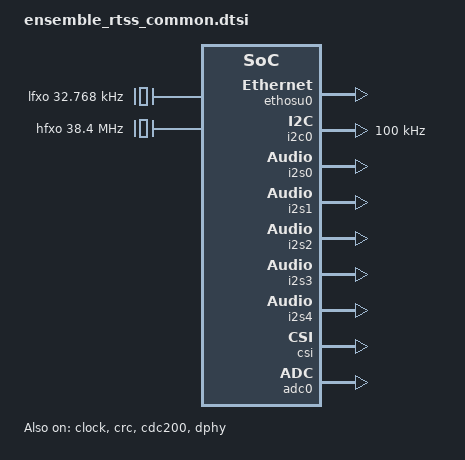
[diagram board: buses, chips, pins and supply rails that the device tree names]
/* Copyright (c) 2024 Alif Semiconductor
 *
 * SPDX-License-Identifier: Apache-2.0
 */
#include <arm/armv8.1-m.dtsi>
#include <mem.h>
#include <zephyr/dt-bindings/i2c/i2c.h>
#include <zephyr/dt-bindings/mipi_dsi/mipi_dsi.h>
#include <zephyr/dt-bindings/gpio/gpio.h>
#include <zephyr/dt-bindings/timer/alif_utimer.h>
#include <zephyr/dt-bindings/pwm/pwm.h>
#include <zephyr/dt-bindings/clock/alif_ensemble_clocks.h>
&{/soc} {
	clock: clock-controller@4903f000 {
		compatible = "alif,clk";
		reg = <0x4903F000 0xB0
				0x4902F000 0xBC
				0x1A604000 0x44
				0x1A609000 0x14
				0x43007000 0x2C
				0x400F0000 0x14
				0x1A602000 0x24>;
		reg-names = "master_clkctrl",
				"slave_clkctrl",
				"aon_clkctrl",
				"vbat_clkctrl",
				"m55he_clkctrl",
				"m55hp_clkctrl",
				"cgu_clkctrl";
		#clock-cells = <1>;
		status = "okay";
	};
	ethosu {
	#address-cells = <1>;
	#size-cells = <0>;
	interrupt-parent = <&nvic>;
		ethosu0: ethosu55@400E1000 {
			compatible = "arm,ethos-u";
			reg = <0x400E1000>;
			interrupts = <55 0>;
			secure-enable;
			privilege-enable;
			status = "okay";
		};
	};
	ns: ns@200d0000 {
		compatible = "zephyr,memory-region";
		/* Ensemble TGU Block Size(16KB) Aligned always */
		reg = <0x200d0000 DT_SIZE_K(176)>;
		zephyr,memory-region = "NON_SECURE0";
		status = "disabled";
	};
	peripheral@40000000 {
		#address-cells = < 0x1 >;
		#size-cells = < 0x1 >;
		ranges = < 0x0 0x40000000 0x2000000 >;

		seservice0r: mhu@40040000 {
			compatible = "arm,mhuv2";
			reg = < 0x40040000 0x1000 >;
			interrupts = < 37 0 >;
			interrupt-names = "rx";
		};
		seservice0s: mhu@40050000 {
			compatible = "arm,mhuv2";
			reg = < 0x40050000 0x1000 >;
			interrupts = < 38 0 >;
			interrupt-names = "tx";
		};
		seservice1r: mhu@40060000 {
			compatible = "arm,mhuv2";
			reg = < 0x40060000 0x1000 >;
			interrupts = < 39 0 >;
			interrupt-names = "rx";
		};
		seservice1s: mhu@40070000 {
			compatible = "arm,mhuv2";
			reg = < 0x40070000 0x1000 >;
			interrupts = < 40 0 >;
			interrupt-names = "tx";
		};
		rtsshp_rtsshe_mhu0_r: mhu@40080000 {
			compatible = "arm,mhuv2";
			reg = < 0x40080000 0x1000 >;
			interrupts = < 41 0 >;
			interrupt-names = "rx";
		};
		rtsshe_rtsshp_mhu0_s: mhu@40090000 {
			compatible = "arm,mhuv2";
			reg = < 0x40090000 0x1000 >;
			interrupts = < 42 0 >;
			interrupt-names = "tx";
		};
		rtsshp_rtsshe_mhu1_r: mhu@400a0000 {
			compatible = "arm,mhuv2";
			reg = < 0x400A0000 0x1000 >;
			interrupts = < 43 0 >;
			interrupt-names = "rx";
		};
		rtsshe_rtsshp_mhu1_s: mhu@400b0000 {
			compatible = "arm,mhuv2";
			reg = < 0x400B0000 0x1000 >;
			interrupts = < 44 0 >;
			interrupt-names = "tx";
		};
	};

	timer0: timer@42001000 {
		compatible = "snps,dw-timers";
		reg = <0x42001000 0x14>;
		interrupts = < 60 0 >;
		clocks = <&clock ALIF_LPTIMER0_S32K_CLK>;
		status = "disabled";
	};

	timer1: timer@42001014 {
		compatible = "snps,dw-timers";
		reg = <0x42001014 0x14>;
		interrupts = < 61 0 >;
		clocks = <&clock ALIF_LPTIMER1_S32K_CLK>;
		status = "disabled";
	};

	timer2: timer@42001028 {
		compatible = "snps,dw-timers";
		reg = <0x42001028 0x14>;
		interrupts = < 62 0 >;
		clocks = <&clock ALIF_LPTIMER2_S32K_CLK>;
		status = "disabled";
	};

	timer3: timer@4200103c {
		compatible = "snps,dw-timers";
		reg = <0x4200103C 0x14>;
		interrupts = < 63 0 >;
		clocks = <&clock ALIF_LPTIMER3_S32K_CLK>;
		status = "disabled";
	};

	utimer0: utimer@48001000 {
		compatible = "alif,utimer";
		reg = <0x48001000 0x1000 0x48000000 0x24>;
		reg-names = "timer", "global";
		interrupts = <377 3>, <378 3>,
				<379 3>, <380 3>, <381 3>,
				<382 3>, <383 3>, <384 3>;
		interrupt-names = "comp_capt_a", "comp_capt_b",
				"comp_a_buf1", "comp_a_buf2", "comp_b_buf1",
				"comp_b_buf2", "underflow", "overflow";
		timer-id = <0>;
		clocks = <&clock ALIF_UTIMER_CLK>;
		counter-direction = < ALIF_UTIMER_COUNTER_DIRECTION_UP >;
		status = "disabled";

		counter {
			compatible = "alif,counter";
			status = "disabled";
		};

		pwm {
			compatible = "alif,pwm";
			#pwm-cells = <3>;
			status = "disabled";
		};

		qdec {
			compatible = "alif,qdec";
			counts-per-revolution = <1000>;
			input-filter-enable;
			filter-prescaler = <16>;
			filter-taps = <1>;
			status = "disabled";
		};
	};

	utimer1: utimer@48002000 {
		compatible = "alif,utimer";
		reg = <0x48002000 0x1000 0x48000000 0x24>;
		reg-names = "timer", "global";
		interrupts = <385 3>, <386 3>,
				<387 3>, <388 3>, <389 3>,
				<390 3>, <391 3>, <392 3>;
		interrupt-names = "comp_capt_a", "comp_capt_b",
				"comp_a_buf1", "comp_a_buf2", "comp_b_buf1",
				"comp_b_buf2", "underflow", "overflow";
		timer-id = <1>;
		clocks = <&clock ALIF_UTIMER_CLK>;
		counter-direction = < ALIF_UTIMER_COUNTER_DIRECTION_UP >;
		status = "disabled";

		counter {
			compatible = "alif,counter";
			status = "disabled";
		};

		pwm {
			compatible = "alif,pwm";
			#pwm-cells = <3>;
			status = "disabled";
		};

		qdec {
			compatible = "alif,qdec";
			counts-per-revolution = <1000>;
			input-filter-enable;
			filter-prescaler = <16>;
			filter-taps = <1>;
			status = "disabled";
		};
	};

	utimer2: utimer@48003000 {
		compatible = "alif,utimer";
		reg = <0x48003000 0x1000 0x48000000 0x24>;
		reg-names = "timer", "global";
		interrupts = <393 3>, <394 3>,
				<395 3>, <396 3>, <397 3>,
				<398 3>, <399 3>, <400 3>;
		interrupt-names = "comp_capt_a", "comp_capt_b",
				"comp_a_buf1", "comp_a_buf2", "comp_b_buf1",
				"comp_b_buf2", "underflow", "overflow";
		timer-id = <2>;
		clocks = <&clock ALIF_UTIMER_CLK>;
		counter-direction = < ALIF_UTIMER_COUNTER_DIRECTION_UP >;
		status = "disabled";

		counter {
			compatible = "alif,counter";
			status = "disabled";
		};

		pwm {
			compatible = "alif,pwm";
			#pwm-cells = <3>;
			status = "disabled";
		};

		qdec {
			compatible = "alif,qdec";
			counts-per-revolution = <1000>;
			input-filter-enable;
			filter-prescaler = <16>;
			filter-taps = <1>;
			status = "disabled";
		};
	};

	utimer3: utimer@48004000 {
		compatible = "alif,utimer";
		reg = <0x48004000 0x1000 0x48000000 0x24>;
		reg-names = "timer", "global";
		interrupts = <401 3>, <402 3>,
				<403 3>, <404 3>, <405 3>,
				<406 3>, <407 3>, <408 3>;
		interrupt-names = "comp_capt_a", "comp_capt_b",
				"comp_a_buf1", "comp_a_buf2", "comp_b_buf1",
				"comp_b_buf2", "underflow", "overflow";
		timer-id = <3>;
		clocks = <&clock ALIF_UTIMER_CLK>;
		counter-direction = < ALIF_UTIMER_COUNTER_DIRECTION_UP >;
		status = "disabled";

		counter {
			compatible = "alif,counter";
			status = "disabled";
		};

		pwm {
			compatible = "alif,pwm";
			#pwm-cells = <3>;
			status = "disabled";
		};

		qdec {
			compatible = "alif,qdec";
			counts-per-revolution = <1000>;
			input-filter-enable;
			filter-prescaler = <16>;
			filter-taps = <1>;
			status = "disabled";
		};
	};

	utimer4: utimer@48005000 {
		compatible = "alif,utimer";
		reg = <0x48005000 0x1000 0x48000000 0x24>;
		reg-names = "timer", "global";
		interrupts = <409 3>, <410 3>,
				<411 3>, <412 3>, <413 3>,
				<414 3>, <415 3>, <416 3>;
		interrupt-names = "comp_capt_a", "comp_capt_b",
				"comp_a_buf1", "comp_a_buf2", "comp_b_buf1",
				"comp_b_buf2", "underflow", "overflow";
		timer-id = <4>;
		clocks = <&clock ALIF_UTIMER_CLK>;
		counter-direction = < ALIF_UTIMER_COUNTER_DIRECTION_UP >;
		status = "disabled";

		counter {
			compatible = "alif,counter";
			status = "disabled";
		};

		pwm {
			compatible = "alif,pwm";
			#pwm-cells = <3>;
			status = "disabled";
		};

		qdec {
			compatible = "alif,qdec";
			counts-per-revolution = <1000>;
			input-filter-enable;
			filter-prescaler = <16>;
			filter-taps = <1>;
			status = "disabled";
		};
	};

	utimer5: utimer@48006000 {
		compatible = "alif,utimer";
		reg = <0x48006000 0x1000 0x48000000 0x24>;
		reg-names = "timer", "global";
		interrupts = <417 3>, <418 3>,
				<419 3>, <420 3>, <421 3>,
				<422 3>, <423 3>, <424 3>;
		interrupt-names = "comp_capt_a", "comp_capt_b",
				"comp_a_buf1", "comp_a_buf2", "comp_b_buf1",
				"comp_b_buf2", "underflow", "overflow";
		timer-id = <5>;
		clocks = <&clock ALIF_UTIMER_CLK>;
		counter-direction = < ALIF_UTIMER_COUNTER_DIRECTION_UP >;
		status = "disabled";

		counter {
			compatible = "alif,counter";
			status = "disabled";
		};

		pwm {
			compatible = "alif,pwm";
			#pwm-cells = <3>;
			status = "disabled";
		};

		qdec {
			compatible = "alif,qdec";
			counts-per-revolution = <1000>;
			input-filter-enable;
			filter-prescaler = <16>;
			filter-taps = <1>;
			status = "disabled";
		};
	};

	utimer6: utimer@48007000 {
		compatible = "alif,utimer";
		reg = <0x48007000 0x1000 0x48000000 0x24>;
		reg-names = "timer", "global";
		interrupts = <425 3>, <426 3>,
				<427 3>, <428 3>, <429 3>,
				<430 3>, <431 3>, <432 3>;
		interrupt-names = "comp_capt_a", "comp_capt_b",
				"comp_a_buf1", "comp_a_buf2", "comp_b_buf1",
				"comp_b_buf2", "underflow", "overflow";
		timer-id = <6>;
		clocks = <&clock ALIF_UTIMER_CLK>;
		counter-direction = < ALIF_UTIMER_COUNTER_DIRECTION_UP >;
		status = "disabled";

		counter {
			compatible = "alif,counter";
			status = "disabled";
		};

		pwm {
			compatible = "alif,pwm";
			#pwm-cells = <3>;
			status = "disabled";
		};

		qdec {
			compatible = "alif,qdec";
			counts-per-revolution = <1000>;
			input-filter-enable;
			filter-prescaler = <16>;
			filter-taps = <1>;
			status = "disabled";
		};
	};

	utimer7: utimer@48008000 {
		compatible = "alif,utimer";
		reg = <0x48008000 0x1000 0x48000000 0x24>;
		reg-names = "timer", "global";
		interrupts = <433 3>, <434 3>,
				<435 3>, <436 3>, <437 3>,
				<438 3>, <439 3>, <440 3>;
		interrupt-names = "comp_capt_a", "comp_capt_b",
				"comp_a_buf1", "comp_a_buf2", "comp_b_buf1",
				"comp_b_buf2", "underflow", "overflow";
		timer-id = <7>;
		clocks = <&clock ALIF_UTIMER_CLK>;
		counter-direction = < ALIF_UTIMER_COUNTER_DIRECTION_UP >;
		status = "disabled";

		counter {
			compatible = "alif,counter";
			status = "disabled";
		};

		pwm {
			compatible = "alif,pwm";
			#pwm-cells = <3>;
			status = "disabled";
		};

		qdec {
			compatible = "alif,qdec";
			counts-per-revolution = <1000>;
			input-filter-enable;
			filter-prescaler = <16>;
			filter-taps = <1>;
			status = "disabled";
		};
	};

	utimer8: utimer@48009000 {
		compatible = "alif,utimer";
		reg = <0x48009000 0x1000 0x48000000 0x24>;
		reg-names = "timer", "global";
		interrupts = <441 3>, <442 3>,
				<443 3>, <444 3>, <445 3>,
				<446 3>, <447 3>, <448 3>;
		interrupt-names = "comp_capt_a", "comp_capt_b",
				"comp_a_buf1", "comp_a_buf2", "comp_b_buf1",
				"comp_b_buf2", "underflow", "overflow";
		timer-id = <8>;
		clocks = <&clock ALIF_UTIMER_CLK>;
		counter-direction = < ALIF_UTIMER_COUNTER_DIRECTION_UP >;
		status = "disabled";

		counter {
			compatible = "alif,counter";
			status = "disabled";
		};

		pwm {
			compatible = "alif,pwm";
			#pwm-cells = <3>;
			status = "disabled";
		};

		qdec {
			compatible = "alif,qdec";
			counts-per-revolution = <1000>;
			input-filter-enable;
			filter-prescaler = <16>;
			filter-taps = <1>;
			status = "disabled";
		};
	};

	utimer9: utimer@4800a000 {
		compatible = "alif,utimer";
		reg = <0x4800A000 0x1000 0x48000000 0x24>;
		reg-names = "timer", "global";
		interrupts = <449 3>, <450 3>,
				<451 3>, <452 3>, <453 3>,
				<454 3>, <455 3>, <456 3>;
		interrupt-names = "comp_capt_a", "comp_capt_b",
				"comp_a_buf1", "comp_a_buf2", "comp_b_buf1",
				"comp_b_buf2", "underflow", "overflow";
		timer-id = <9>;
		clocks = <&clock ALIF_UTIMER_CLK>;
		counter-direction = < ALIF_UTIMER_COUNTER_DIRECTION_UP >;
		status = "disabled";

		counter {
			compatible = "alif,counter";
			status = "disabled";
		};

		pwm {
			compatible = "alif,pwm";
			#pwm-cells = <3>;
			status = "disabled";
		};

		qdec {
			compatible = "alif,qdec";
			counts-per-revolution = <1000>;
			input-filter-enable;
			filter-prescaler = <16>;
			filter-taps = <1>;
			status = "disabled";
		};
	};

	utimer10: utimer@4800b000 {
		compatible = "alif,utimer";
		reg = <0x4800B000 0x1000 0x48000000 0x24>;
		reg-names = "timer", "global";
		interrupts = <457 3>, <458 3>,
				<459 3>, <460 3>, <461 3>,
				<462 3>, <463 3>, <464 3>;
		interrupt-names = "comp_capt_a", "comp_capt_b",
				"comp_a_buf1", "comp_a_buf2", "comp_b_buf1",
				"comp_b_buf2", "underflow", "overflow";
		timer-id = <10>;
		clocks = <&clock ALIF_UTIMER_CLK>;
		counter-direction = < ALIF_UTIMER_COUNTER_DIRECTION_UP >;
		status = "disabled";

		counter {
			compatible = "alif,counter";
			status = "disabled";
		};

		pwm {
			compatible = "alif,pwm";
			#pwm-cells = <3>;
			status = "disabled";
		};

		qdec {
			compatible = "alif,qdec";
			counts-per-revolution = <1000>;
			input-filter-enable;
			filter-prescaler = <16>;
			filter-taps = <1>;
			status = "disabled";
		};
	};

	utimer11: utimer@4800c000 {
		compatible = "alif,utimer";
		reg = <0x4800C000 0x1000 0x48000000 0x24>;
		reg-names = "timer", "global";
		interrupts = <465 3>, <466 3>,
				<467 3>, <468 3>, <469 3>,
				<470 3>, <471 3>, <472 3>;
		interrupt-names = "comp_capt_a", "comp_capt_b",
				"comp_a_buf1", "comp_a_buf2", "comp_b_buf1",
				"comp_b_buf2", "underflow", "overflow";
		timer-id = <11>;
		clocks = <&clock ALIF_UTIMER_CLK>;
		counter-direction = < ALIF_UTIMER_COUNTER_DIRECTION_UP >;
		status = "disabled";

		counter {
			compatible = "alif,counter";
			status = "disabled";
		};

		pwm {
			compatible = "alif,pwm";
			#pwm-cells = <3>;
			status = "disabled";
		};

		qdec {
			compatible = "alif,qdec";
			counts-per-revolution = <1000>;
			input-filter-enable;
			filter-prescaler = <16>;
			filter-taps = <1>;
			status = "disabled";
		};
	};

	hwsem0: hwsem@4902e000 {
		compatible = "alif,hwsem";
		reg = <0x4902E000 0x10>;
		interrupts = < 105 0 >;
	};
	hwsem1: hwsem@4902e010 {
		compatible = "alif,hwsem";
		reg = <0x4902E010 0x10>;
		interrupts = < 106 0 >;
	};
	hwsem2: hwsem@4902e020 {
		compatible = "alif,hwsem";
		reg = <0x4902E020 0x10>;
		interrupts = < 107 0 >;
	};
	hwsem3: hwsem@4902e030 {
		compatible = "alif,hwsem";
		reg = <0x4902E030 0x10>;
		interrupts = < 108 0 >;
	};
	hwsem4: hwsem@4902e040 {
		compatible = "alif,hwsem";
		reg = <0x4902E040 0x10>;
		interrupts = < 109 0 >;
	};
	hwsem5: hwsem@4902e050 {
		compatible = "alif,hwsem";
		reg = <0x4902E050 0x10>;
		interrupts = < 110 0 >;
	};
	hwsem6: hwsem@4902e060 {
		compatible = "alif,hwsem";
		reg = <0x4902E060 0x10>;
		interrupts = < 111 0 >;
	};
	hwsem7: hwsem@4902e070 {
		compatible = "alif,hwsem";
		reg = <0x4902E070 0x10>;
		interrupts = < 112 0 >;
	};
	hwsem8: hwsem@4902e080 {
		compatible = "alif,hwsem";
		reg = <0x4902E080 0x10>;
		interrupts = < 113 0 >;
	};
	hwsem9: hwsem@4902e090 {
		compatible = "alif,hwsem";
		reg = <0x4902E090 0x10>;
		interrupts = < 114 0 >;
	};
	hwsem10: hwsem@4902e0a0 {
		compatible = "alif,hwsem";
		reg = <0x4902E0A0 0x10>;
		interrupts = < 115 0 >;
	};
	hwsem11: hwsem@4902e0b0 {
		compatible = "alif,hwsem";
		reg = <0x4902E0B0 0x10>;
		interrupts = < 116 0 >;
	};
	hwsem12: hwsem@4902e0c0 {
		compatible = "alif,hwsem";
		reg = <0x4902E0C0 0x10>;
		interrupts = < 117 0 >;
	};
	hwsem13: hwsem@4902e0d0 {
		compatible = "alif,hwsem";
		reg = <0x4902E0D0 0x10>;
		interrupts = < 118 0 >;
	};
	hwsem14: hwsem@4902e0e0 {
		compatible = "alif,hwsem";
		reg = <0x4902E0E0 0x10>;
		interrupts = < 119 0 >;
	};
	hwsem15: hwsem@4902e0f0 {
		compatible = "alif,hwsem";
		reg = <0x4902E0F0 0x10>;
		interrupts = < 120 0 >;
	};

	uart0: uart@0x49018000 {
		compatible = "ns16550";
		reg = <0x49018000 0x100>;
		/* 100Mhz baud clock */
		clock-frequency = <100000000>;
		interrupts = <124 0>;
		reg-shift = <2>;
		current-speed = <115200>;
		pinctrl-0 = < &pinctrl_uart0 >;
		pinctrl-names = "default";
		fifo-size = <32>;
		status = "disabled";
	};

	uart1: uart@0x49019000 {
		compatible = "ns16550";
		reg = <0x49019000 0x100>;
		/* 100Mhz baud clock */
		clock-frequency = <100000000>;
		interrupts = <125 0>;
		reg-shift = <2>;
		current-speed = <115200>;
		pinctrl-0 = < &pinctrl_uart1 >;
		pinctrl-names = "default";
		fifo-size = <32>;
		status = "disabled";
	};

	uart2: uart@4901a000 {
		compatible = "ns16550";
		reg = <0x4901a000 0x100>;
		/* 100Mhz baud clock */
		clock-frequency = <100000000>;
		interrupts = <126 0>;
		reg-shift = <2>;
		current-speed = <115200>;
		pinctrl-0 = < &pinctrl_uart2 >;
		pinctrl-names = "default";
		fifo-size = <32>;
		status = "disabled";
	};

	uart3: uart@4901b000 {
		compatible = "ns16550";
		reg = <0x4901b000 0x100>;
		/* 100Mhz baud clock */
		clock-frequency = <100000000>;
		interrupts = <127 0>;
		reg-shift = <2>;
		current-speed = <115200>;
		pinctrl-0 = < &pinctrl_uart3 >;
		pinctrl-names = "default";
		fifo-size = <32>;
		status = "disabled";
	};

	uart4: uart@4901c000 {
		compatible = "ns16550";
		reg = <0x4901c000 0x100>;
		/* 100Mhz baud clock */
		clock-frequency = <100000000>;
		interrupts = <128 0>;
		reg-shift = <2>;
		current-speed = <115200>;
		pinctrl-0 = < &pinctrl_uart4 >;
		pinctrl-names = "default";
		fifo-size = <32>;
		status = "disabled";
	};

	uart5: uart@4901d000 {
		compatible = "ns16550";
		reg = <0x4901d000 0x100>;
		/* 100Mhz baud clock */
		clock-frequency = <100000000>;
		interrupts = <129 0>;
		reg-shift = <2>;
		current-speed = <115200>;
		pinctrl-0 = < &pinctrl_uart5 >;
		pinctrl-names = "default";
		fifo-size = <32>;
		status = "disabled";
	};

	uart6: uart@4901e000 {
		compatible = "ns16550";
		reg = <0x4901e000 0x100>;
		/* 100Mhz baud clock */
		clock-frequency = <100000000>;
		interrupts = <130 0>;
		reg-shift = <2>;
		current-speed = <115200>;
		pinctrl-0 = < &pinctrl_uart6 >;
		pinctrl-names = "default";
		fifo-size = <32>;
		status = "disabled";
	};

	uart7: uart@4901f000 {
		compatible = "ns16550";
		reg = <0x4901f000 0x100>;
		/* 100Mhz baud clock */
		clock-frequency = <100000000>;
		interrupts = <131 0>;
		reg-shift = <2>;
		current-speed = <115200>;
		pinctrl-0 = < &pinctrl_uart7 >;
		pinctrl-names = "default";
		fifo-size = <32>;
		status = "disabled";
	};

	lpuart: uart@43008000 {
		compatible = "ns16550";
		reg = <0x43008000 0x100>;
		/* 160Mhz baud clock */
		clock-frequency = <160000000>;
		interrupts = <45 0>;
		reg-shift = <2>;
		current-speed = <115200>;
		pinctrl-0 = < &pinctrl_lpuart >;
		pinctrl-names = "default";
		fifo-size = <32>;
		status = "disabled";
	};

	uartclk: uart-clock {
		compatible = "fixed-clock";
		clock-frequency = <10000000>;
		#clock-cells = <0>;
	};

	hsuart0:uart@1a510000 {
		compatible = "arm,pl011";
		reg = <0x1a510000 0x1000>;
		clocks = <&uartclk>;
		interrupts = <19 0>;
		interrupt-names = "rx";
		current-speed = <115200>;
		pinctrl-0 = < &pinctrl_hsuart0 >;
		pinctrl-names = "default";
		status = "disabled";
	};

	pdm: pdm@4902d000 {
		compatible = "alif,alif-pdm";
		reg = <0x4902d000 0x1000>;
		interrupts = <145 0>;
		pinctrl-0 = < &pinctrl_pdm0 >;
		pinctrl-names = "default";
		fifo_watermark = <5>;
		bypass_iir_filter = <1>;
		status = "disabled";
	};

	lppdm: lppdm@43002000 {
		compatible = "alif,alif-pdm";
		reg = <0x43002000 0x1000>;
		interrupts = <49 0>;
		pinctrl-0 = < &pinctrl_lppdm >;
		pinctrl-names = "default";
		fifo_watermark = <5>;
		bypass_iir_filter = <1>;
		status = "disabled";
	};

	gpio0: gpio@49000000 {
		compatible = "snps,designware-gpio";
		reg = <0x49000000 0x1000>;
		ngpios = <8>;
		interrupts = <179 0>, <180 0>,
			     <181 0>, <182 0>,
			     <183 0>, <184 0>,
			     <185 0>, <186 0>;
		gpio-controller;
		#gpio-cells = <2>;
	};
	gpio1: gpio@49001000 {
		compatible = "snps,designware-gpio";
		reg = <0x49001000 0x1000>;
		ngpios = <8>;
		interrupts = <187 0>, <188 0>,
			     <189 0>, <190 0>,
			     <191 0>, <192 0>,
			     <193 0>, <194 0>;
		gpio-controller;
		#gpio-cells = <2>;
	};
	gpio2: gpio@49002000 {
		compatible = "snps,designware-gpio";
		reg = <0x49002000 0x1000>;
		ngpios = <8>;
		interrupts = <195 0>, <196 0>,
			     <197 0>, <198 0>,
			     <199 0>, <200 0>,
			     <201 0>, <202 0>;
		gpio-controller;
		#gpio-cells = <2>;
	};
	gpio3: gpio@49003000 {
		compatible = "snps,designware-gpio";
		reg = <0x49003000 0x1000>;
		ngpios = <8>;
		interrupts = <203 0>, <204 0>,
			     <205 0>, <206 0>,
			     <207 0>, <208 0>,
			     <209 0>, <210 0>;
		gpio-controller;
		#gpio-cells = <2>;
	};
	gpio4: gpio@49004000 {
		compatible = "snps,designware-gpio";
		reg = <0x49004000 0x1000>;
		ngpios = <8>;
		interrupts = <211 0>, <212 0>,
			     <213 0>, <214 0>,
			     <215 0>, <216 0>,
			     <217 0>, <218 0>;
		gpio-controller;
		#gpio-cells = <2>;
	};
	gpio5: gpio@49005000 {
		compatible = "snps,designware-gpio";
		reg = <0x49005000 0x1000>;
		ngpios = <8>;
		interrupts = <219 0>, <220 0>,
			     <221 0>, <222 0>,
			     <223 0>, <224 0>,
			     <225 0>, <226 0>;
		gpio-controller;
		#gpio-cells = <2>;
	};
	gpio6: gpio@49006000 {
		compatible = "snps,designware-gpio";
		reg = <0x49006000 0x1000>;
		ngpios = <8>;
		interrupts = <227 0>, <228 0>,
			     <229 0>, <230 0>,
			     <231 0>, <232 0>,
			     <233 0>, <234 0>;
		gpio-controller;
		#gpio-cells = <2>;
	};
	gpio7: gpio@49007000 {
		compatible = "snps,designware-gpio";
		reg = <0x49007000 0x1000>;
		ngpios = <8>;
		interrupts = <235 0>, <236 0>,
			     <237 0>, <238 0>,
			     <239 0>, <240 0>,
			     <241 0>, <242 0>;
		gpio-controller;
		#gpio-cells = <2>;
	};

	gpio8: gpio@49008000 {
		compatible = "snps,designware-gpio";
		reg = <0x49008000 0x1000>;
		ngpios = <8>;
		interrupts = <243 0>, <244 0>,
			     <245 0>, <246 0>,
			     <247 0>, <248 0>,
			     <249 0>, <250 0>;
		gpio-controller;
		#gpio-cells = <2>;
	};
	gpio9: gpio@49009000 {
		compatible = "snps,designware-gpio";
		reg = <0x49009000 0x1000>;
		ngpios = <8>;
		interrupts = <251 0>, <252 0>,
			     <253 0>, <254 0>,
			     <255 0>, <256 0>,
			     <257 0>, <258 0>;
		gpio-controller;
		#gpio-cells = <2>;
	};
	gpio10: gpio@4900a000 {
		compatible = "snps,designware-gpio";
		reg = <0x4900A000 0x1000>;
		ngpios = <8>;
		interrupts = <259 0>, <260 0>,
			     <261 0>, <262 0>,
			     <263 0>, <264 0>,
			     <265 0>, <266 0>;
		gpio-controller;
		#gpio-cells = <2>;
	};
	gpio11: gpio@4900b000 {
		compatible = "snps,designware-gpio";
		reg = <0x4900B000 0x1000>;
		ngpios = <8>;
		interrupts = <267 0>, <268 0>,
			     <269 0>, <270 0>,
			     <271 0>, <272 0>,
			     <273 0>, <274 0>;
		gpio-controller;
		#gpio-cells = <2>;
	};
	gpio12: gpio@4900c000 {
		compatible = "snps,designware-gpio";
		reg = <0x4900C000 0x1000>;
		ngpios = <8>;
		interrupts = <275 0>, <276 0>,
			     <277 0>, <278 0>,
			     <279 0>, <280 0>,
			     <281 0>, <282 0>;
		gpio-controller;
		#gpio-cells = <2>;
	};
	gpio13: gpio@4900d000 {
		compatible = "snps,designware-gpio";
		reg = <0x4900D000 0x1000>;
		ngpios = <8>;
		interrupts = <283 0>, <284 0>,
			     <285 0>, <286 0>,
			     <287 0>, <288 0>,
			     <289 0>, <290 0>;
		gpio-controller;
		#gpio-cells = <2>;
	};
	gpio14: gpio@4900e000 {
		compatible = "snps,designware-gpio";
		reg = <0x4900E000 0x1000>;
		ngpios = <8>;
		interrupts = <291 0>, <292 0>,
			     <293 0>, <294 0>,
			     <295 0>, <296 0>,
			     <297 0>, <298 0>;
		gpio-controller;
		#gpio-cells = <2>;
	};
	lpgpio: gpio@42002000 {
		compatible = "snps,designware-gpio";
		reg = <0x42002000 0x1000>;
		ngpios = <8>;
		interrupts = <171 0>, <172 0>,
			     <173 0>, <174 0>,
			     <175 0>, <176 0>,
			     <177 0>, <178 0>;
		gpio-controller;
		#gpio-cells = <2>;
	};
	spi0: spi@48103000 {
		dwc-ssi;
		compatible = "snps,designware-spi";
		#address-cells = <1>;
		#size-cells = <0>;
		pinctrl-0 = < &pinctrl_spi0 >;
		pinctrl-names = "default";
		reg = <0x48103000 0x1000>;
		interrupt-parent = <&nvic>;
		interrupts = <137 0>;
		cs-gpios = <&gpio1 3 0>;
		clocks = <&syst_hclk>;
		fifo-depth = <16>;
		max-xfer-size = <32>;
		rx-delay = <4>;
		status = "disabled";
	};
	spi1: spi@48104000 {
		dwc-ssi;
		compatible = "snps,designware-spi";
		#address-cells = <1>;
		#size-cells = <0>;
		pinctrl-0 = < &pinctrl_spi1 >;
		pinctrl-names = "default";
		reg = <0x48104000 0x1000>;
		interrupt-parent = <&nvic>;
		interrupts = <138 0>;
		cs-gpios = <&gpio2 7 1>;
		clocks = <&syst_hclk>;
		fifo-depth = <16>;
		max-xfer-size = <32>;
		rx-delay = <4>;
		status = "disabled";
	};
	spi2: spi@48105000 {
		dwc-ssi;
		compatible = "snps,designware-spi";
		#address-cells = <1>;
		#size-cells = <0>;
		pinctrl-0 = < &pinctrl_spi2 >;
		pinctrl-names = "default";
		reg = <0x48105000 0x1000>;
		interrupt-parent = <&nvic>;
		interrupts = <139 0>;
		cs-gpios = <&gpio4 5 0>;
		clocks = <&syst_hclk>;
		fifo-depth = <16>;
		max-xfer-size = <32>;
		rx-delay = <4>;
		status = "disabled";
	};
	spi3: spi@48106000 {
		dwc-ssi;
		compatible = "snps,designware-spi";
		#address-cells = <1>;
		#size-cells = <0>;
		pinctrl-0 = < &pinctrl_spi3 >;
		pinctrl-names = "default";
		reg = <0x48106000 0x1000>;
		interrupt-parent = <&nvic>;
		interrupts = <140 0>;
		cs-gpios = <&gpio12 7 0>;
		clocks = <&syst_hclk>;
		fifo-depth = <16>;
		max-xfer-size = <32>;
		rx-delay = <4>;
		status = "disabled";
	};
	spi4: lpspi@43000000 {
		compatible = "snps,designware-spi";
		#address-cells = <1>;
		#size-cells = <0>;
		pinctrl-0 = < &pinctrl_lpspi >;
		pinctrl-names = "default";
		reg = <0x43000000 0x1000>;
		interrupt-parent = <&nvic>;
		interrupts = <46 0>;
		cs-gpios = <&gpio7 7 0>;
		clocks = <&syst_pclk>;
		fifo-depth = <16>;
		max-xfer-size = <32>;
		rx-delay = <4>;
		status = "disabled";
	};

	ospi0: ospi0@83000000 {
		compatible = "snps,designware-ospi";
		#address-cells = <1>;
		#size-cells = <0>;
		reg = <0x83000000 0x1000>;
		pinctrl-0 = <&pinctrl_ospi0>;
		pinctrl-names = "default";
		interrupt-parent = <&nvic>;
		interrupts = <96 0>;
		aes-reg = <0x83001000 0x100>;
		cs-pin = <0>;
		status = "disabled";
	};
	ospi1: ospi1@83002000 {
		compatible = "snps,designware-ospi";
		#address-cells = <1>;
		#size-cells = <0>;
		reg = <0x83002000 0x1000>;
		pinctrl-0 = <&pinctrl_ospi1>;
		pinctrl-names = "default";
		interrupt-parent = <&nvic>;
		interrupts = <97 0>;
		aes-reg = <0x83003000 0x100>;
		bus-speed = <10000000>;
		clock-frequency = <400000000>;
		cs-pin = <0>;
		ddr-drive-edge;
		rx-ds-delay = <11>;
		tx-fifo-threshold = <64>;
		xip-wait-cycles = <16>;
		xip-base-address = <0xC0000000 0x20000000>;
		status = "disabled";

		ospi_flash: ospi_flash@0 {
			compatible = "issi,xspi-flash-controller";
			reg = <0x0>;
			erase-value = <0xff>;
			num-of-sector = <16384>;
			page-size = <4096>;
			sector-size = <4096>;
			write-block-size = <1>;

			/* Flash Size 64MB */
			#address-cells = <1>;
			#size-cells = <1>;

			flash_storage: flash_storage@0 {
				compatible = "soc-nv-flash";
				reg = <0x0 DT_SIZE_M(64)>;
				erase-block-size = <DT_SIZE_K(4)>;
				write-block-size = <1>;
			};
		};
	};

	crc: crc@48107000 {
		compatible = "alif,alif-crc";
		reg = <0x48107000 0x1000>;
		crc_algo = "CRC_8_BIT_SIZE";
		status = "okay";
	};

	cdc200: cdc200@49031000 {
		compatible = "tes,cdc-2.1";
		reg = <0x49031000 0x1000>;
		status = "okay";
		interrupts =	<333 0>,
				<334 0>,
				<335 0>,
				<336 0>,
				<337 0>,
				<338 0>,
				<339 0>,
				<340 0>,
				<341 0>,
				<342 0>;
		interrupt-names = "scanline_0",
				  "scanline_1",
				  "fifo_warning_0",
				  "fifo_warning_1",
				  "fifo_underrun_0",
				  "fifo_underrun_1",
				  "bus_error_0",
				  "bus_error_1",
				  "reg_reload_0",
				  "reg_reload_1";
		pinctrl-0 = < &pinctrl_cdc200 >;
		pinctrl-names = "default";

		clocks = <&clock ALIF_DPI_CLK>, <&clock ALIF_CDC200_PIX_SYST_ACLK>;
		clock-names = "dpi-clk-en", "pixel-clk";

		/* Panel Config */
		width = <800>;
		height = <480>;
		hfront-porch = <210>;
		hback-porch = <46>;
		hsync-len = <1>;
		vfront-porch = <22>;
		vback-porch = <23>;
		vsync-len = <1>;
		hsync-active = <0>;
		vsync-active = <0>;
		de-active = <1>;
		pixelclk-active = <0>;
		clock-frequency = <2779910>;
		/* BG Layer color is 24-bit in size. */
		bg-color = <0x5a5a5a>;

		/* Layer 0 Config */
		enable-l1 = <1>;
		pixel-fmt-l1 = "rgb-565";
		/* Default color for Layer is 32-bit in size. */
		def-back-color-l1 = <0x00ff00>;
		win-x0-l1 = <0>;
		win-y0-l1 = <0>;
		win-x1-l1 = <300>;
		win-y1-l1 = <480>;
		blend-factor1-l1 = <4>;
		blend-factor2-l1 = <5>;
		const-alpha-l1 = <0x7f>;

		/* Layer 1 Config */
		enable-l2 = <1>;
		pixel-fmt-l2 = "argb-8888";
		win-x0-l2 = <500>;
		win-y0-l2 = <0>;
		win-x1-l2 = <800>;
		win-y1-l2 = <68>;
		blend-factor1-l2 = <4>;
		blend-factor2-l2 = <5>;
		const-alpha-l2 = <0xaf>;
	};
	i2c0: i2c0@49010000 {
		compatible = "snps,designware-i2c";
		clock-frequency = <I2C_BITRATE_STANDARD>;
		#address-cells = <1>;
		#size-cells = <0>;
		reg = <0x49010000 0x1000>;
		pinctrl-0 = < &pinctrl_i2c0 >;
		pinctrl-names = "default";
		interrupt-parent = <&nvic>;
		interrupts = <132 0>;
		tx_threshold = <16>;
		rx_threshold = <0>;
		status = "okay";
	};
	i2c1: i2c1@49011000 {
		compatible = "snps,designware-i2c";
		clock-frequency = <I2C_BITRATE_STANDARD>;
		#address-cells = <1>;
		#size-cells = <0>;
		reg = <0x49011000 0x1000>;
		pinctrl-0 = < &pinctrl_i2c1 >;
		pinctrl-names = "default";
		interrupt-parent = <&nvic>;
		interrupts = <133 0>;
		tx_threshold = <16>;
		rx_threshold = <0>;
		status = "disabled";
	};

	lpi2c: lpi2c@43009000 {
		compatible = "alif,lpi2c";
		#address-cells = <1>;
		#size-cells = <0>;
		pinctrl-names = "default";
		pinctrl-0 = <&pinctrl_lpi2c>;
		reg = <0x43009000 0x100>;
		interrupts = <47 0>;
		status = "disabled";
	};

	i2s0: i2s0@49014000 {
		compatible = "snps,designware-i2s";
		clock-frequency = <76800000>;
		driver_instance	= "I2S_INSTANCE_0";
		reg = <0x49014000 0x1000>;
		pinctrl-names = "default";
		pinctrl-0 = <&pinctrl_i2s0>;
		interrupts = <141 0>;
	};
	i2s1: i2s1@49015000 {
		compatible = "snps,designware-i2s";
		clock-frequency = <76800000>;
		driver_instance	= "I2S_INSTANCE_1";
		reg = <0x49015000 0x1000>;
		pinctrl-names = "default";
		pinctrl-0 = <&pinctrl_i2s1>;
		interrupts = <142 0>;
	};
	i2s2: i2s2@49016000 {
		compatible = "snps,designware-i2s";
		clock-frequency = <76800000>;
		driver_instance	= "I2S_INSTANCE_2";
		pinctrl-names = "default";
		pinctrl-0 = <&pinctrl_i2s2>;
		reg = <0x49016000 0x1000>;
		interrupts = <143 0>;
	};
	i2s3: i2s3@49017000 {
		compatible = "snps,designware-i2s";
		clock-frequency = <76800000>;
		driver_instance	= "I2S_INSTANCE_3";
		reg = <0x49017000 0x1000>;
		pinctrl-names = "default";
		pinctrl-0 = <&pinctrl_i2s3>;
		interrupts = <144 0>;
	};
	i2s4: lpi2s@43001000 {
		compatible = "snps,designware-i2s";
		clock-frequency = <76800000>;
		driver_instance	= "I2S_INSTANCE_4";
		reg = <0x43001000 0x1000>;
		pinctrl-names = "default";
		pinctrl-0 = <&pinctrl_i2s4>;
		interrupts = <48 0>;
	};

	dphy: d-phy@4903f000{
		compatible = "snps,designware-dphy";
		reg = <0x4903f000 0x40>,
		      <0x49032000 0x1000>,
		      <0x49033000 0x1000>;
		reg-names = "expmst_reg", "dsi_reg", "csi_reg";

		clocks = <&clock ALIF_MIPI_PLLREF_CLK>;
		clock-names = "pllref-clk";

		ref-frequency = <38400000>;
		cfg-clk-frequency = <25000000>;
		status = "okay";
	};

	mipi_dsi: mipi-dsi@49032000 {
		#address-cells = <1>;
		#size-cells = <0>;
		compatible = "snps,designware-dsi";
		reg = <0x49032000 0x1000>;
		interrupts = <343 0>;
		cdc-if = <&cdc200>;
		phy-if = <&dphy>;

		clocks = <&clock ALIF_DSI_CLK>, <&clock ALIF_CDC200_PIX_SYST_ACLK>,
			<&clock ALIF_MIPI_TXDPHY_CLK>;
		clock-names = "dsi-clk-en", "pixel-clk", "tx-dphy-clk";
		dpi-shutdn-active = <1>;
		dpi-colorm-active = <1>;
		vid-pkt-size = <480>;
		ecc-recv-en;
		crc-recv-en;
		frame-ack-en;
		status = "disabled";

		mw405: mw405@0 {
			status = "okay";
			compatible = "focuslcd,mw405";
			reg = <0>;
			reset-gpios = <&lpgpio 5 GPIO_ACTIVE_HIGH>;
			bl-gpios = <&gpio6 1 GPIO_ACTIVE_HIGH>;
			data-lanes = <2>;
			width = <480>;
			height = <800>;
			video-mode = "burst";
			command-tx-mode = "high-speed";
			pixel-format = <MIPI_DSI_PIXFMT_RGB888>;
			status = "okay";
		};
	};

	sdhc: sdhc@48102000 {
		compatible = "intel,emmc-host";
		reg = <0x48102000 0xF70>;
		interrupt-parent = <&nvic>;
		interrupts = <102 3>;
		max-bus-freq = <100000000>;
		min-bus-freq = <400000>;
		power-delay-ms = <500>;
		pinctrl-0 = <&pinctrl_sdmmc>;
		pinctrl-names = "default";
		mmc {
			compatible = "zephyr,sdmmc-disk";
			bus-width = <4>;
			status = "disabled";
		};
		status = "disabled";
	};

	cam: cam@49030000 {
		compatible = "alif,cam";
		reg = <0x49030000 0x1000>;
		interrupts = <345 0>;
		pinctrl-0 = < &pinctrl_cam8 >;
		pinctrl-names = "default";

		fifo-wr-wmark = <0x18>;
		fifo-rd-wmark = <0x08>;
		wait-vsync;
		status = "disabled";
	};

	lpcam: lpcam@43003000 {
		compatible = "alif,cam";
		reg = <0x43003000 0x1000>;
		interrupts = <54 0>;

		pinctrl-0 = < &pinctrl_lpcam >;
		pinctrl-names = "default";

		status = "disabled";
	};

	csi: csi@49033000 {
		compatible = "snps,designware-csi";
		reg = <0x49033000 0x1000>;
		interrupts = <344 0>;

		data-lanes = <2>;
		ipi-mode = "Camera";
		phy-if = <&dphy>;

		clocks = <&clock ALIF_CSI_CLK>, <&clock ALIF_CSI_PIX_SYST_ACLK>,
			<&clock ALIF_MIPI_RXDPHY_CLK>, <&clock ALIF_100M_CLK>;
		clock-names = "csi-clk-en", "pixel-clk", "rx-dphy-clk", "cfg-clk-en";

		csi-hsa = <5>;
		csi-hbp = <10>;
		csi-hsd = <280>;
		csi-hact = <560>;
		csi-vsa = <4>;
		csi-vbp = <4>;
		csi-vfp = <4>;
		csi-vact = <560>;
	};

	dma0: dma0@49080000 {
		compatible = "arm,dma-pl330";
		reg = <0x49080000 0x1000>;
		reg-names = "pl330_regs";
		dma-channels = <4>;
		#dma-cells = <2>;
		interrupt-parent = <&nvic>;
		interrupts = <299 0>, <300 0>, <301 0>, <302 0>, <331 0>;
		interrupt-names = "channel0", "channel1",
						  "channel2", "channel3",
						  "abort";
		status = "disabled";
	};

	adc0: adc0@49020000{
		compatible = "alif,adc";
		reg =	<0x49020000 0x1000>,
			<0x49020000 0x100>,
			<0x49023000 0x100>,
			<0x1A604000 0x100>;
		reg-names = "adc_reg", "analog_reg", "comp_reg", "aon_regs";

		comparator_threshold_a = <0x01>;
		comparator_threshold_b = <0x01>;
		comparator_threshold_comparasion = "ABOVE_THRESHOLD_A_AND_B";

		sample-width		= <16>;
		clock_div		= <2>;
		avg_sample_num		= <256>;
		shift_n_bits		= <8>;
		shift_direction		= "RIGHT_SHIFT";
		comparator_en;
		comparator_bias		= "2.5_MS/s";
		driver_instance		= "ADC_INSTANCE_ADC12_0";
		adc_channel_scan	= "SINGLE_CHANNEL_SCAN";
		adc_conversion_mode	= "SINGLE_SHOT_CONVERSION";
		/* pga_enable; */       /* This property is valid in differential mode only */
		pga_gain		= "ADC_PGA_GAIN_0_DB";
		pinctrl-0		= < &pinctrl_adc0 >;
		pinctrl-names		= "default";
		interrupts		= <151 0>,
					  <154 0>,
					  <157 0>,
					  <160 0>;
		interrupt-names = "continuous_intr",
				  "single_shot_intr",
				  "comparator_a_intr",
				  "comparator_b_intr";
		status = "okay";
	};

	adc1: adc1@49021000{
		compatible = "alif,adc";
		reg =	<0x49021000 0x1000>,
			<0x49020000 0x100>,
			<0x49023000 0x100>,
			<0x1A604000 0x100>;
		reg-names = "adc_reg", "analog_reg", "comp_reg", "aon_regs";

		comparator_threshold_a = <0x01>;
		comparator_threshold_b = <0x01>;
		comparator_threshold_comparasion = "ABOVE_THRESHOLD_A_AND_B";

		sample-width		= <16>;
		clock_div		= <2>;
		avg_sample_num		= <256>;
		shift_n_bits		= <8>;
		shift_direction		= "RIGHT_SHIFT";
		comparator_en;
		comparator_bias		= "2.5_MS/s";
		driver_instance		= "ADC_INSTANCE_ADC12_1";
		adc_channel_scan	= "SINGLE_CHANNEL_SCAN";
		adc_conversion_mode	= "SINGLE_SHOT_CONVERSION";
		/* pga_enable; */       /* This property is valid in differential mode only */
		pga_gain		= "ADC_PGA_GAIN_0_DB";
		pinctrl-0		= < &pinctrl_adc1 >;
		pinctrl-names		= "default";
		interrupts		= <152 0>,
					  <155 0>,
					  <158 0>,
					  <161 0>;
		interrupt-names		= "continuous_intr",
					  "single_shot_intr",
					  "comparator_a_intr",
					  "comparator_b_intr";
		status = "disabled";
	};

	adc2: adc2@49022000{
		compatible = "alif,adc";
		reg =	<0x49022000 0x1000>,
			<0x49020000 0x100>,
			<0x49023000 0x100>,
			<0x1A604000 0x100>;
		reg-names = "adc_reg", "analog_reg", "comp_reg", "aon_regs";

		comparator_threshold_a = <0x01>;
		comparator_threshold_b = <0x01>;
		comparator_threshold_comparasion = "ABOVE_THRESHOLD_A_AND_B";

		sample-width		= <16>;
		clock_div		= <2>;
		avg_sample_num		= <256>;
		shift_n_bits		= <8>;
		shift_direction		= "RIGHT_SHIFT";
		comparator_en;
		comparator_bias		= "2.5_MS/s";
		driver_instance		= "ADC_INSTANCE_ADC12_2";
		adc_channel_scan	= "SINGLE_CHANNEL_SCAN";
		adc_conversion_mode	= "SINGLE_SHOT_CONVERSION";
		/* pga_enable; */       /* This property is valid in differential mode only */
		pga_gain		= "ADC_PGA_GAIN_0_DB";
		pinctrl-0		= < &pinctrl_adc2 >;
		pinctrl-names		= "default";
		interrupts		= <153 0>,
					  <156 0>,
					  <159 0>,
					  <162 0>;
		interrupt-names		= "continuous_intr",
					  "single_shot_intr",
					  "comparator_a_intr",
					  "comparator_b_intr";
		status = "disabled";
	};

	adc24: adc24@49027000{
		compatible = "alif,adc";
		reg =	<0x49027000 0x1000>,
			<0x49020000 0x100>,
			<0x49023000 0x100>,
			<0x1A604000 0x100>;
		reg-names = "adc_reg", "analog_reg", "comp_reg", "aon_regs";

		comparator_threshold_a = <0x01>;
		comparator_threshold_b = <0x01>;
		comparator_threshold_comparasion = "ABOVE_THRESHOLD_A_AND_B";

		clock_div		= <2>;
		avg_sample_num		= <256>;
		shift_n_bits		= <8>;
		shift_direction		= "RIGHT_SHIFT";
		adc24_output_rate	= "1KS/s";
		adc24_bias		= "8.75uA";
		driver_instance		= "ADC_INSTANCE_ADC24_0";
		adc_channel_scan	= "SINGLE_CHANNEL_SCAN";
		adc_conversion_mode	= "SINGLE_SHOT_CONVERSION";
		/* pga_enable; */       /* This property is valid in differential mode only */
		pga_gain		= "ADC_PGA_GAIN_0_DB";
		pinctrl-0		= < &pinctrl_adc24 >;
		pinctrl-names		= "default";
		interrupts		= <163 0>,
					  <164 0>,
					  <165 0>,
					  <166 0>;
		interrupt-names		= "continuous_intr",
					  "single_shot_intr",
					  "comparator_a_intr",
					  "comparator_b_intr";
		status = "disabled";
	};

	cmp0: cmp0@49023000 {
		compatible = "alif,cmp";
		reg = <0x49023000 0x1000>,
			  <0x49023000 0x1000>;
		reg-names	 = "cmp_reg", "config_reg";
		pinctrl-0	 = < &pinctrl_cmp0 >;
		pinctrl-names	 = "default";
		driver_instance	 = "CMP_INSTANCE_0";
		positive_input	 = "CMP_POS_IN0";
		negative_input	 = "CMP_NEG_IN3";
		hysteresis_level = "42mV";
		interrupts	 = <167 0>;
		cmp-gpios	 = <&gpio14 7 GPIO_ACTIVE_HIGH>;
		status = "disabled";
	};

	cmp1: cmp1@49024000 {
		compatible = "alif,cmp";
		reg = <0x49024000 0x1000>,
			  <0x49023000 0x1000>;
		reg-names	 = "cmp_reg", "config_reg";
		pinctrl-0	 = < &pinctrl_cmp1 >;
		pinctrl-names	 = "default";
		driver_instance	 = "CMP_INSTANCE_1";
		positive_input	 = "CMP_POS_IN0";
		negative_input	 = "CMP_NEG_IN3";
		hysteresis_level = "42mV";
		interrupts	 = <168 0>;
		cmp-gpios	 = <&gpio14 6 GPIO_ACTIVE_HIGH>;
		status = "disabled";
	};

	cmp2: cmp2@49025000 {
		compatible = "alif,cmp";
		reg = <0x49025000 0x1000>,
			  <0x49023000 0x1000>;
		reg-names	 = "cmp_reg", "config_reg";
		pinctrl-0	 = < &pinctrl_cmp2 >;
		pinctrl-names	 = "default";
		driver_instance	 = "CMP_INSTANCE_2";
		positive_input	 = "CMP_POS_IN0";
		negative_input	 = "CMP_NEG_IN3";
		hysteresis_level = "42mV";
		interrupts	 = <169 0>;
		cmp-gpios	 = <&gpio14 5 GPIO_ACTIVE_HIGH>;
		status = "disabled";
	};

	cmp3: cmp3@49026000 {
		compatible = "alif,cmp";
		reg = <0x49026000 0x1000>,
			  <0x49023000 0x1000>;
		reg-names	 = "cmp_reg", "config_reg";
		pinctrl-0	 = < &pinctrl_cmp3 >;
		pinctrl-names	 = "default";
		driver_instance	 = "CMP_INSTANCE_3";
		positive_input	 = "CMP_POS_IN0";
		negative_input	 = "CMP_NEG_IN3";
		hysteresis_level = "42mV";
		interrupts	 = <170 0>;
		cmp-gpios	 = <&gpio14 4 GPIO_ACTIVE_HIGH>;
		status = "disabled";
	};

	lpcmp: lpcmp@1A60A03C {
		compatible = "alif,cmp";
		reg = <0x1A60A03C 0x10>,
			  <0x1A60A03C 0x10>;
		reg-names = "cmp_reg", "config_reg";
		pinctrl-0	 = < &pinctrl_lpcmp >;
		pinctrl-names	 = "default";
		driver_instance	 = "CMP_INSTANCE_LP";
		positive_input	 = "CMP_POS_IN0";
		negative_input	 = "CMP_NEG_IN0";
		hysteresis_level = "42mV";
		interrupts	 = <56 0>;
		status = "disabled";
	};

	rtc0: lprtc@42000000 {
		compatible = "snps,dw-apb-rtc";
		reg = <0x42000000 0x1000>;
		interrupts = <58 0>;
		clock-frequency = <32768>;
		prescaler = <0>;
		load-value = <0>;
		status = "disabled";
	};

	i3c0: i3c@49034000 {
		compatible      = "snps,designware-i3c";
		#address-cells  = <3>;
		#size-cells     = <0>;
		reg             = <0x49034000 0x1000>;
		interrupt-parent= <&nvic>;
		interrupts      = <136 0>;
		clocks          = <&clock ALIF_I3C_CLK>;
		pinctrl-0       = <&pinctrl_i3c0>;
		pinctrl-names   = "default";
		i3c-scl-hz      = <10000000>;
		i2c-scl-hz      = <400000>;
		status		= "disabled";
	};

	can0: can@49036000 {
		#address-cells  = <1>;
		#size-cells     = <1>;
		compatible      = "cast,can";
		reg             = <0x49036000 0x1000 0x49037000 0x1000>;
		reg-names       = "can_reg", "can_cnt_reg";
		interrupt-parent= <&nvic>;
		interrupts      = <104 0>;
		interrupt-names = "can_interrupt";
		clocks          = <&clock ALIF_CANFD0_160M_CLK>;
		clk-speed       = <20000000>;
		pinctrl-0       = <&pinctrl_can0>;
		pinctrl-names   = "default";
		status          = "disabled";
	};

	se_service: se_service {
		compatible = "alif,secure-enclave-services";
		mhuv2-send-node = <&seservice0s>;
		mhuv2-recv-node = <&seservice0r>;
		status = "okay";
	};

	mram_flash: mram_flash@80000000 {
		compatible = "alif,mram-flash-controller";
		/* Usable MRAM size for applications is 5632 KB */
		reg = <0x80000000 DT_SIZE_K(5632)>;

		#address-cells = <1>;
		#size-cells = <1>;
		mram_storage: mram_storage@80000000 {
			compatible = "soc-nv-flash";
			reg = <0x80000000 DT_SIZE_K(5632)>;
			erase-block-size = <1024>;
			write-block-size = <16>;
		};
	};
	dac0: dac0@49028000 {
		compatible = "alif,dac";
		reg = <0x49028000 0x1000>,
		      <0x49023000 0x100>;
		reg-names = "dac_reg","cmp_reg";
		pinctrl-names = "default";
		pinctrl-0 = <&pinctrl_dac0>;
		dac_twoscomp_in = <0>;
		input_mux_val = <0>;
		status = "disabled";
	};
	dac1: dac1@49029000 {
		compatible = "alif,dac";
		reg = <0x49029000 0x1000>,
		      <0x49023000 0x100>;
		reg-names = "dac_reg","cmp_reg";
		pinctrl-names = "default";
		pinctrl-0 = <&pinctrl_dac1>;
		dac_twoscomp_in = <0>;
		input_mux_val = <0>;
		status = "disabled";
	};
};

&{/} {
	rng: rng {
		status = "okay";
		compatible = "alif,secure-enclave-trng";
	};
	clocks {
		lfrc: lfrc {
			compatible = "fixed-clock";
			clock-frequency = <32000>;
			status = "okay";
			#clock-cells = <0>;
		};
		lfxo: lfxo {
			compatible = "fixed-clock";
			clock-frequency = <32768>;
			status = "okay";
			#clock-cells = <0>;
		};
		hfrc: hfrc {
			compatible = "fixed-clock";
			clock-frequency = <76800000>;
			status = "okay";
			#clock-cells = <0>;
		};
		hfxo: hfxo {
			compatible = "fixed-clock";
			clock-frequency = <38400000>;
			status = "okay";
			#clock-cells = <0>;
		};
		pll: pll {
			compatible = "alif,pll-clk";
			pll_clk1-frequency = <800000000>;
			pll_clk3-frequency = <480000000>;
			status = "okay";
		};
		syst_hclk: ahb_clk {
			compatible = "fixed-clock";
			clock-frequency = <200000000>;
			#clock-cells = <0>;
		};
		syst_pclk: apb_clk {
			compatible = "fixed-clock";
			clock-frequency = <160000000>;
			#clock-cells = <0>;
		};
	};

	chosen {
		zephyr,entropy = &rng;
		zephyr,display = &cdc200;
		zephyr,flash-controller = &mram_flash;
	};

	aliases {
		mipi-dsi = &mipi_dsi;
		panel = &mw405;
		watchdog0 = &wdog0;
	};
};

&nvic {
	arm,num-irq-priority-bits = <8>;
};
